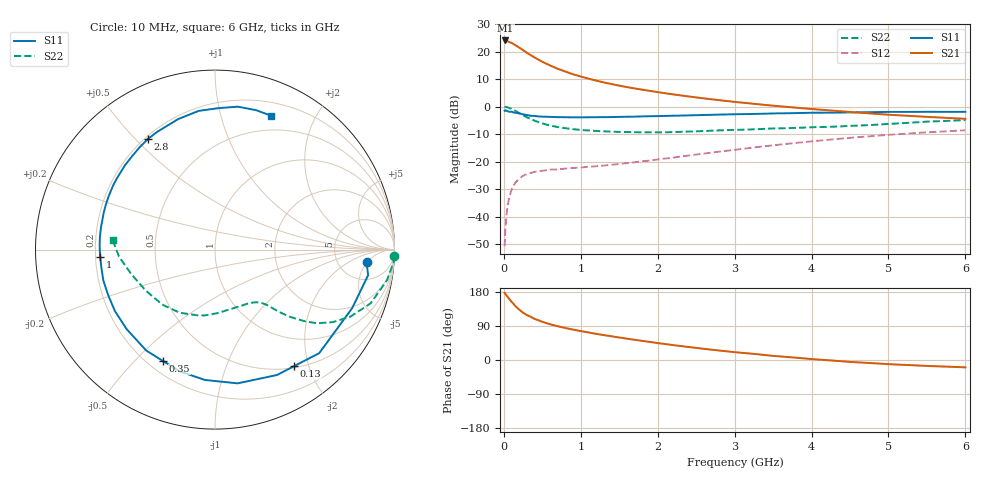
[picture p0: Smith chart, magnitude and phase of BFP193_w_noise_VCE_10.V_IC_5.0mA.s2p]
! (c) 2017  Infineon Technologies AG, Munich
! Infineon Technologies  Discrete & RF Semiconductors
! BFP193
! VCE =  10. V,  IC =  5.0 mA
! Common Emitter S-Parameters:  Jan 2017
# GHz  S  MA  R  50
!  f  S11  S21  S12  S22
! GHz  MAG  ANG  MAG  ANG  MAG  ANG  MAG  ANG
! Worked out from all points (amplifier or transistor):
!   77 points, 10 MHz to 6 GHz, reference 50 ohm
!   highest |S21| = 24.1 dB at 20 MHz (marker M1)
!   |S21| within 3 dB of that: start of sweep to 222 MHz
!   unconditionally stable (mu >= 1): 1.404 GHz to 2.619 GHz
!   at 130 MHz: K = 0.13, MSG = 25.7 dB, |S12| = -28.6 dB
!   at 2.2 GHz: K = 1.06, MAG = 10.0 dB, |S12| = -18.5 dB
!   at 6 GHz: K = 0.84, MSG = 2.1 dB, |S12| = -8.6 dB
!   lowest NFmin = 0.92 dB at 450 MHz
!   S11 on the Smith chart (normalised r, x): 10 MHz: 10, -5; 130 MHz: 0.52, -1.77; 350 MHz: 0.26, -0.61; 1 GHz: 0.22, -0.03; 2.8 GHz: 0.21, +0.54; 6 GHz: 0.34, +1.45
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0.01  0.8475 -4.8  15.82 177.2  0.0029 83.4  1 -2.0
0.02  0.865 -9.5  16.1 174.5  0.0058 88.8  0.9964 -4.2
0.05  0.8309 -23.1  15.51 166.3  0.0161 77.3  0.974 -10.0
0.1  0.8186 -44.8  14.6 153.6  0.0306 68.4  0.9173 -19.0
0.13  0.7846 -55.9  13.71 147.1  0.0371 62.0  0.8707 -23.2
0.15  0.7794 -63.7  13.24 142.3  0.0416 58.9  0.8425 -26.3
0.2  0.7558 -80.4  11.96 133.0  0.049 52.2  0.7696 -31.7
0.25  0.7285 -94.4  10.72 124.7  0.0555 46.5  0.7017 -35.8
0.3  0.7064 -106.1  9.6 118.5  0.0596 42.3  0.643 -38.5
0.35  0.6849 -115.0  8.706 113.9  0.0623 39.7  0.5993 -40.2
0.4  0.6806 -124.2  7.88 108.3  0.0652 37.4  0.5562 -42.1
0.5  0.6622 -138.1  6.588 100.7  0.0683 34.7  0.4972 -44.2
0.6  0.6543 -148.5  5.652 94.4  0.0719 33.5  0.4557 -45.6
1  0.6412 -176.4  3.55 76.3  0.0784 34.7  0.3786 -50.8
1.1  0.6433 178.2  3.248 72.7  0.0808 35.8  0.3706 -52.5
1.5  0.654 161.1  2.423 59.4  0.091 40.3  0.3481 -61.2
2.1  0.6806 140.1  1.762 42.1  0.1142 46.4  0.3438 -78.2
2.8  0.7204 121.3  1.318 25.0  0.1523 48.4  0.3719 -99.4
3.1  0.7336 114.1  1.188 18.9  0.1712 47.4  0.3821 -108.1
4.1  0.7791 94.9  0.888 1.0  0.2417 40.6  0.4263 -137.0
5.1  0.806 79.4  0.703 -11.9  0.3148 29.2  0.4953 -166.6
6  0.8092 67.2  0.603 -19.4  0.3729 18.0  0.5717 174.8
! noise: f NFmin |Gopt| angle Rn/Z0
0.45  0.92  0.28  104  0.1
0.9  1.03  0.39  150  0.07
1.9  1.97  0.61  -151  0.13
2.4  2.42  0.67  -131  0.35
